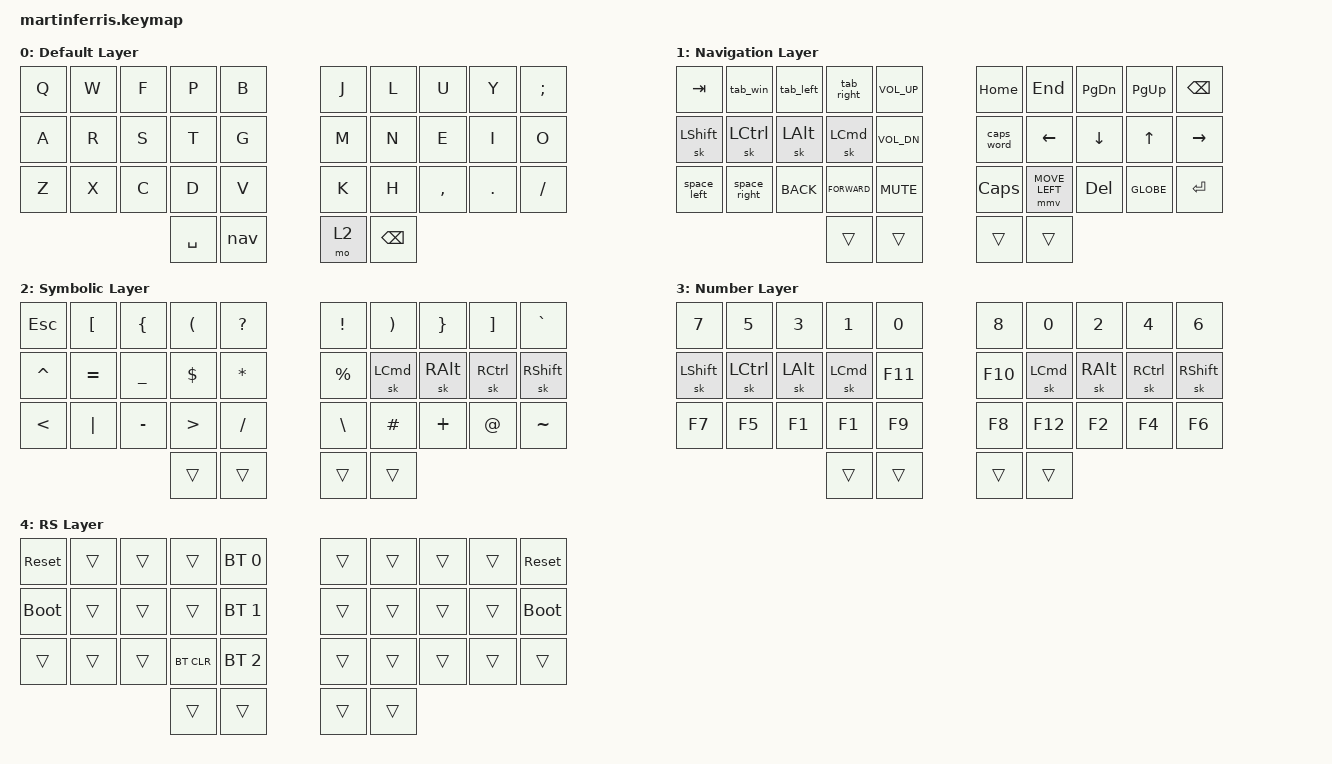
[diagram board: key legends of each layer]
// Copyright (c) 2022 The ZMK Contributors
// SPDX-License-Identifier: MIT

#include <behaviors.dtsi>
#include <dt-bindings/zmk/keys.h>
#include <dt-bindings/zmk/bt.h>
#include <dt-bindings/zmk/pointing.h>

// Home row mods macro
//#define HRML(k1,k2,k3,k4) &ht LSHFT k1  &ht LCTRL k2  &ht LGUI k3  &lt 2 k4
//#define HRMR(k1,k2,k3,k4) &lt 1 k1  &ht RGUI k2  &ht RCTRL k3  &ht RSHFT k4

/ {
    behaviors {
        ht: hold_tap {
            compatible = "zmk,behavior-hold-tap";
            #binding-cells = <2>;
            flavor = "tap-preferred";
            tapping-term-ms = <220>;
            quick-tap-ms = <150>;
            require-prior-idle-ms = <100>;
            bindings = <&kp>, <&kp>;
        };

        space_left: space_left_macro {
            compatible = "zmk,behavior-macro";
            label = "SPACE_LEFT";
            #binding-cells = <0>;
            bindings = <
                &kp SPACE
                &kp LEFT
            >;
        };

        space_right: space_right_macro {
            compatible = "zmk,behavior-macro";
            label = "SPACE_RIGHT";
            #binding-cells = <0>;
            bindings = <
                &kp SPACE
                &kp RIGHT
            >;
        };

        tab_left: tab_left_macro {
            compatible = "zmk,behavior-macro";
            label = "TAB_LEFT";
            #binding-cells = <0>;
            bindings = <
                &kp TAB
                &kp LEFT
            >;
        };

        tab_right: tab_right_macro {
            compatible = "zmk,behavior-macro";
            label = "TAB_RIGHT";
            #binding-cells = <0>;
            bindings = <
                &kp TAB
                &kp RIGHT
            >;
        };
    };

    macros {
        tab_win: tab_win {
            compatible = "zmk,behavior-macro";
            #binding-cells = <0>;
            bindings
                = <&macro_press &kp LCMD>
                , <&macro_tap &kp TAB>
                ;
        };
        nav: nav_with_release {
            compatible = "zmk,behavior-macro";
            #binding-cells = <0>;
            bindings
                = <&macro_press &mo 1>
                , <&macro_pause_for_release>
                , <&macro_release &LCMD
                , <&macro_release &mo 1>
                ;
        };
    };

    conditional_layers {
        compatible = "zmk,conditional-layers";
        tri_layer {
            if-layers = <1 2>;
            then-layer = <3>;
        };
    };

    sk {
        release-after-ms = <2000>;
        quick-release;
        /delete-property/ ignore-modifiers;
    };

    keymap {
        compatible = "zmk,keymap";
        default_layer {
            display-name = "Default Layer";
            bindings = <
        //╭──────────┬──────────┬──────────┬──────────┬──────────╮   ╭──────────┬──────────┬──────────┬──────────┬──────────╮
        //│  Q       │  W       │  F       │  P       │  B       │   │  J       │  L       │  U       │  Y       │  ;       │
            &kp Q      &kp W      &kp F      &kp P      &kp B          &kp J      &kp L      &kp U      &kp Y      &kp SEMI
        //├──────────┼──────────┼──────────┼──────────┼──────────┤   ├──────────┼──────────┼──────────┼──────────┼──────────┤
        //│  A       │  R       │  S       │  T       │  G       │   │  M       │  N       │  E       │  I       │   O      │
            &kp A      &kp R      &kp S      &kp T     &kp G           &kp M      &kp N      &kp E      &kp I      &kp O
        //├──────────┼──────────┼──────────┼──────────┼──────────┤   ├──────────┼──────────┼──────────┼──────────┼──────────┤
        //│  Z       │  X       │  C       │  D       │  V       │   │  K       │  H       │ , <      │ . >      │ / ?      │
            &kp Z      &kp X      &kp C      &kp D      &kp V          &kp K      &kp H      &kp COMMA  &kp DOT    &kp FSLH
        //╰──────────┴──────────┴──────────┼──────────┼──────────┤   ├──────────┼──────────┼──────────┴──────────┴──────────╯
                                             &kp SPACE   &nav          &mo 2      &kp BSPC
        //                                 ╰──────────┴──────────╯   ╰──────────┴──────────╯
            >;
        };

        nav_layer {
            display-name = "Navigation Layer";
            bindings = <
        //╭──────────┬──────────┬──────────┬──────────┬──────────╮   ╭──────────┬──────────┬──────────┬──────────┬──────────╮
        //│  TAB     │  tabwin  │ TAB + L  │ TAB + R  │ VOL_UP   │   │  HOME    │  END     │ PAGE DN  │ PAGE UP  │ BACKSPACE│
            &kp TAB  &tab_win      &tab_left  &tab_right &kp C_VOL_UP    &kp HOME    &kp END   &kp PG_DN  &kp PG_UP  &kp BSPC
        //├──────────┼──────────┼──────────┼──────────┼──────────┤   ├──────────┼──────────┼──────────┼──────────┼──────────┤
        //│ LSHIFT   │ LCTR     │  LALT    │  LCMD    │ VOL_DOWN │   │ CAPS MOD |  LEFT    │ DOWN     │ UP       │ RIGHT    │
            &sk LSHIFT  &sk LCTRL  &sk LALT  &sk LCMD   &kp C_VOL_DN    &caps_word  &kp LEFT   &kp DOWN   &kp UP     &kp RIGHT
        //├──────────┼──────────┼──────────┼──────────┼──────────┤   ├──────────┼──────────┼──────────┼──────────┼──────────┤
        //│ S + L    │  S + R   │  BACK    │  FORWARD │  C_MUTE  │   │ CAPSLOCK │  mleft   │  DEL     │MAC GLOBE │  ENTER   │
           &space_left &space_right &kp K_BACK &kp K_FORWARD &kp C_MUTE &kp CAPS &mmv MOVE_LEFT &kp DEL  &kp GLOBE  &kp ENTER
        //╰──────────┴──────────┴──────────┼──────────┼──────────┤   ├──────────┼──────────┼──────────┴──────────┴──────────╯
                                             &trans    &trans           &trans     &trans
        //                                 ╰──────────┴──────────╯   ╰──────────┴──────────╯
            >;
        };

        sym_layer {
            display-name = "Symbolic Layer";
            bindings = <
        //╭──────────┬──────────┬──────────┬──────────┬──────────╮   ╭──────────┬──────────┬──────────┬──────────┬──────────╮
        //│ ESC      │  [       │  {       │  (       │  ?       │   │  !       │  )       │  }       │  ]       │  `       │
            &kp ESC    &kp LBKT   &kp LBRC   &kp LPAR   &kp QMARK       &kp EXCL  &kp RPAR  &kp RBRC   &kp RBKT   &kp GRAVE
        //├──────────┼──────────┼──────────┼──────────┼──────────┤   ├──────────┼──────────┼──────────┼──────────┼──────────┤
        //│  ^       │  =       │  _       │  $       │  *       │   │  %       │ LCMD     │  RALT    │  RCTRL   │  RSHIFT  │
           &kp CARET  &kp EQUAL  &kp UNDER  &kp DLLR   &kp ASTRK      &kp PRCNT  &sk LCMD   &sk RALT   &sk RCTRL  &sk RSHFT
        //├──────────┼──────────┼──────────┼──────────┼──────────┤   ├──────────┼──────────┼──────────┼──────────┼──────────┤
        //│  <       │  |       │  -       │  >       │  /       │   │  \       │  #       │  +       │  @       │  ~       │
            &kp LT     &kp PIPE   &kp MINUS   &kp GT     &kp SLASH     &kp BSLH   &kp HASH   &kp PLUS &kp AT_SIGN &kp TILDE
        //╰──────────┴──────────┴──────────┼──────────┼──────────┤   ├──────────┼──────────┼──────────┴──────────┴──────────╯
                                             &trans     &trans        &trans     &trans
        //                                 ╰──────────┴──────────╯   ╰──────────┴──────────╯
            >;
        };

        num_layer {
            display-name = "Number Layer";
            bindings = <
        //╭──────────┬──────────┬──────────┬──────────┬──────────╮   ╭──────────┬──────────┬──────────┬──────────┬──────────╮
        //│  7       │  5       │  3       │  1       │  9       │   │  8       │  0       │  2       │  4       │  6       │
            &kp N7    &kp N5     &kp N3     &kp N1      &kp N0         &kp N8     &kp N0     &kp N2     &kp N4     &kp N6
        //├──────────┼──────────┼──────────┼──────────┼──────────┤   ├──────────┼──────────┼──────────┼──────────┼──────────┤
        //│ LSHIFT   │ LCTR     │  LALT    │  LCMD    │ F11      │   │  F10     │ LCMD     │  RALT    │  RCTRL   │  RSHIFT  │
           &sk LSHIFT  &sk LCTRL  &sk LALT  &sk LCMD    &kp F11       &kp F10    &sk LCMD   &sk RALT   &sk RCTRL  &sk  RSHFT
        //├──────────┼──────────┼──────────┼──────────┼──────────┤   ├──────────┼──────────┼──────────┼──────────┼──────────┤
        //│  F7      │  F5      │  F3        │ F1     │  F9      │   │  F8      │  F12     │  F2      │  F4      │  F6      │
            &kp F7     &kp F5     &kp F1     &kp F1     &kp F9         &kp F8     &kp F12     &kp F2     &kp F4     &kp F6
        //╰──────────┴──────────┴──────────┼──────────┼──────────┤   ├──────────┼──────────┼──────────┴──────────┴──────────╯
                                             &trans     &trans         &trans     &trans
        //                                 ╰──────────┴──────────╯   ╰──────────┴──────────╯
            >;
        };

        rs_layer {
            display-name = "RS Layer";
            bindings = <
        //╭──────────┬──────────┬──────────┬──────────┬──────────╮   ╭──────────┬──────────┬──────────┬──────────┬──────────╮
        //│ RESET    │          │          │          │PROFILE 0 │   │          │          │          │          │  RESET   │
           &sys_reset  &trans     &trans     &trans    &bt BT_SEL 0    &trans     &trans     &trans     &trans    &sys_reset
        //├──────────┼──────────┼──────────┼──────────┼──────────┤   ├──────────┼──────────┼──────────┼──────────┼──────────┤
        //│BOOTLOADER│          │          │          │PROFILE 1 │   │          │          │          │          │BOOTLOADER│
          &bootloader  &trans     &trans     &trans    &bt BT_SEL 1    &trans     &trans     &trans     &trans    &bootloader
        //├──────────┼──────────┼──────────┼──────────┼──────────┤   ├──────────┼──────────┼──────────┼──────────┼──────────┤
        //│          │          │          │ CLEAR BT │PROFILE 2 │   │          │          │          │          │          │
            &trans     &trans     &trans    &bt BT_CLR &bt BT_SEL 2    &trans     &trans     &trans     &trans     &trans
        //╰──────────┴──────────┴──────────┼──────────┼──────────┤   ├──────────┼──────────┼──────────┴──────────┴──────────╯
                                             &trans     &trans         &trans     &trans
        //                                 ╰──────────┴──────────╯   ╰──────────┴──────────╯
            >;
        };
    };

};
